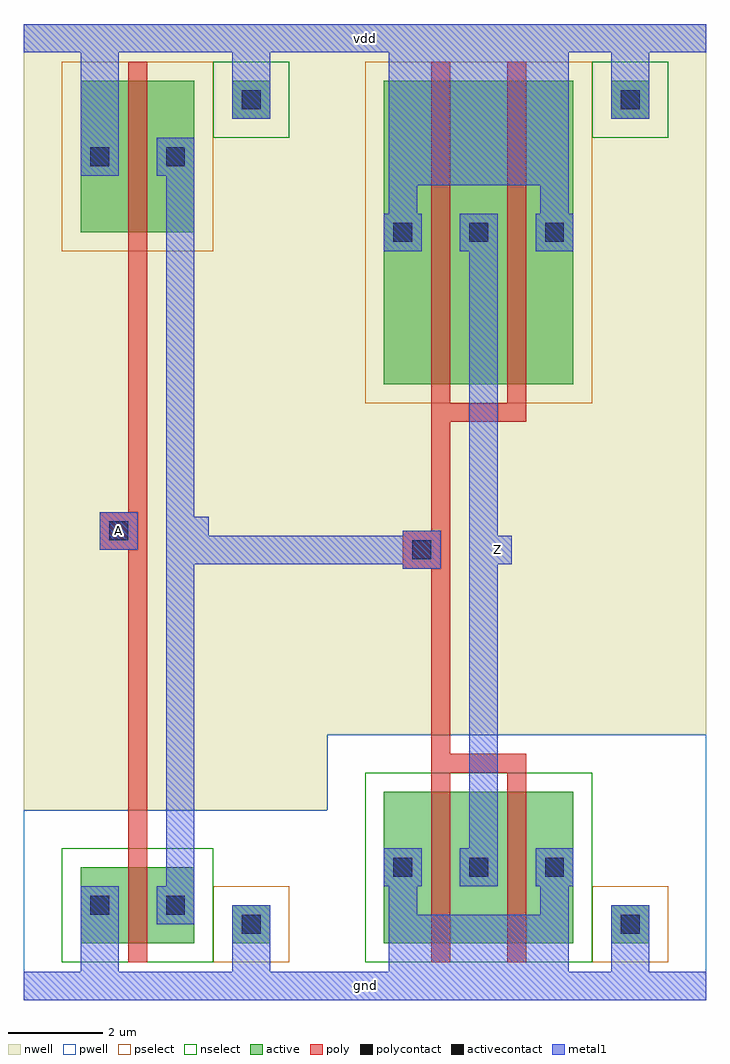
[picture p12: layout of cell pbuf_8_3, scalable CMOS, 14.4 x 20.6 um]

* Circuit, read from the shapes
.subckt pbuf_8_3 A Z gnd vdd
M1 pinv_17_1/A A gnd gnd nfet w=1.6u l=0.4u
M2 Z pinv_17_1/A gnd gnd nfet w=3.2u l=0.4u m=2
M3 pinv_17_1/A A vdd vdd pfet w=3.2u l=0.4u
M4 Z pinv_17_1/A vdd vdd pfet w=6.4u l=0.4u m=2
.ends

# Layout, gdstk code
import gdstk
lib = gdstk.Library(unit=1e-6, precision=1e-09)
def R(c, l, rs):  # rectangles x0, y0, x1, y1
    for r in rs: c.add(gdstk.rectangle(r[:2], r[2:], *l))
pwell = (41, 0)
nwell = (42, 0)
active = (43, 0)
pselect = (44, 0)
nselect = (45, 0)
poly = (46, 0)
polycontact = (47, 0)
activecontact = (48, 0)
metal1 = (49, 0)

active_contact_metal1_1x = lib.new_cell('active_contact_metal1_1x1_pn')
R(active_contact_metal1_1x, nwell, [(-1.2,-1.2,2,2)])
R(active_contact_metal1_1x, active, [(0,0,0.8,0.8)])
R(active_contact_metal1_1x, pselect, [(-0.4,-0.4,1.2,1.2)])
R(active_contact_metal1_1x, activecontact, [(0.2,0.2,0.6,0.6)])
R(active_contact_metal1_1x, metal1, [(0,0,0.8,0.8)])

pmos_m1_w3_2_a_p = lib.new_cell('pmos_m1_w3_2_a_p')
R(pmos_m1_w3_2_a_p, nwell, [(-1.2,-1.2,3.6,4.4)])
R(pmos_m1_w3_2_a_p, active, [(0,0,2.4,3.2)])
R(pmos_m1_w3_2_a_p, pselect, [(-0.4,-0.4,2.8,3.6)])
R(pmos_m1_w3_2_a_p, poly, [(1,-0.4,1.4,3.6), (1,-0.4,1.4,3.6)])
R(pmos_m1_w3_2_a_p, metal1, [(0,1.2,0.8,2), (1.6,1.2,2.4,2)])
pmos_m1_w3_2_a_p.add(gdstk.Reference(active_contact_metal1_1x, (0,1.2)))
pmos_m1_w3_2_a_p.add(gdstk.Reference(active_contact_metal1_1x, (1.6,1.2)))
pmos_m1_w3_2_a_p.add(gdstk.Label('G', (1.2,1.6), layer=46, texttype=0))
pmos_m1_w3_2_a_p.add(gdstk.Label('S', (0.4,1.6), layer=49, texttype=0))
pmos_m1_w3_2_a_p.add(gdstk.Label('D', (2,1.6), layer=49, texttype=0))

c_active_contact_metal1_1x = lib.new_cell('active_contact_metal1_1x1_np')
R(c_active_contact_metal1_1x, pwell, [(-1.2,-1.2,2,2)])
R(c_active_contact_metal1_1x, active, [(0,0,0.8,0.8)])
R(c_active_contact_metal1_1x, nselect, [(-0.4,-0.4,1.2,1.2)])
R(c_active_contact_metal1_1x, activecontact, [(0.2,0.2,0.6,0.6)])
R(c_active_contact_metal1_1x, metal1, [(0,0,0.8,0.8)])

nmos_m1_w1_6_a_p = lib.new_cell('nmos_m1_w1_6_a_p')
R(nmos_m1_w1_6_a_p, pwell, [(-1.2,-1.2,3.6,2.8)])
R(nmos_m1_w1_6_a_p, active, [(0,0,2.4,1.6)])
R(nmos_m1_w1_6_a_p, nselect, [(-0.4,-0.4,2.8,2)])
R(nmos_m1_w1_6_a_p, poly, [(1,-0.4,1.4,2), (1,-0.4,1.4,2)])
R(nmos_m1_w1_6_a_p, metal1, [(0,0.4,0.8,1.2), (1.6,0.4,2.4,1.2)])
nmos_m1_w1_6_a_p.add(gdstk.Reference(c_active_contact_metal1_1x, (0,0.4)))
nmos_m1_w1_6_a_p.add(gdstk.Reference(c_active_contact_metal1_1x, (1.6,0.4)))
nmos_m1_w1_6_a_p.add(gdstk.Label('G', (1.2,0.8), layer=46, texttype=0))
nmos_m1_w1_6_a_p.add(gdstk.Label('S', (0.4,0.8), layer=49, texttype=0))
nmos_m1_w1_6_a_p.add(gdstk.Label('D', (2,0.8), layer=49, texttype=0))

c_active_contact_metal1_1x_ = lib.new_cell('active_contact_metal1_1x1_nn')
R(c_active_contact_metal1_1x_, nwell, [(-1.2,-1.2,2,2)])
R(c_active_contact_metal1_1x_, active, [(0,0,0.8,0.8)])
R(c_active_contact_metal1_1x_, nselect, [(-0.4,-0.4,1.2,1.2)])
R(c_active_contact_metal1_1x_, activecontact, [(0.2,0.2,0.6,0.6)])
R(c_active_contact_metal1_1x_, metal1, [(0,0,0.8,0.8)])

c_active_contact_metal1_1x__ = lib.new_cell('active_contact_metal1_1x1_pp')
R(c_active_contact_metal1_1x__, pwell, [(-1.2,-1.2,2,2)])
R(c_active_contact_metal1_1x__, active, [(0,0,0.8,0.8)])
R(c_active_contact_metal1_1x__, pselect, [(-0.4,-0.4,1.2,1.2)])
R(c_active_contact_metal1_1x__, activecontact, [(0.2,0.2,0.6,0.6)])
R(c_active_contact_metal1_1x__, metal1, [(0,0,0.8,0.8)])

poly_contact_metal1_1x1 = lib.new_cell('poly_contact_metal1_1x1')
R(poly_contact_metal1_1x1, poly, [(0,0,0.8,0.8)])
R(poly_contact_metal1_1x1, polycontact, [(0.2,0.2,0.6,0.6)])
R(poly_contact_metal1_1x1, metal1, [(0,0,0.8,0.8)])

pinv_16 = lib.new_cell('pinv_16')
R(pinv_16, pwell, [(0,-0.3,6.4,3.7)])
R(pinv_16, nwell, [(0,3.7,6.4,20.3)])
R(pinv_16, poly, [(2.2,0.5,2.6,15.5), (2,9.2,2.2,10)])
R(pinv_16, metal1, [(0,-0.3,6.4,0.3), (1.2,-0.3,2,1.3), (4.4,0,5.2,1.3), (3,1.3,3.6,17.1), (1.6,9.2,2.4,10), (3.3,9.3,3.9,9.9), (1.2,17.1,2,20.3), (4.4,18.7,5.2,20), (0,19.7,6.4,20.3)])
pinv_16.add(gdstk.Reference(pmos_m1_w3_2_a_p, (1.2,15.9)))
pinv_16.add(gdstk.Reference(nmos_m1_w1_6_a_p, (1.2,0.9)))
pinv_16.add(gdstk.Reference(c_active_contact_metal1_1x_, (4.4,18.3)))
pinv_16.add(gdstk.Reference(c_active_contact_metal1_1x__, (4.4,0.9)))
pinv_16.add(gdstk.Reference(poly_contact_metal1_1x1, (1.6,9.2)))
pinv_16.add(gdstk.Label('gnd', (3.2,0), layer=49, texttype=0))
pinv_16.add(gdstk.Label('vdd', (3.2,20), layer=49, texttype=0))
pinv_16.add(gdstk.Label('A', (2,9.6), layer=49, texttype=0))
pinv_16.add(gdstk.Label('Z', (3.6,9.6), layer=49, texttype=0))

pmos_m2_w6_4_a_p = lib.new_cell('pmos_m2_w6_4_a_p')
R(pmos_m2_w6_4_a_p, nwell, [(-1.2,-1.2,5.2,7.6)])
R(pmos_m2_w6_4_a_p, active, [(0,0,4,6.4)])
R(pmos_m2_w6_4_a_p, pselect, [(-0.4,-0.4,4.4,6.8)])
R(pmos_m2_w6_4_a_p, poly, [(1,-0.8,3,-0.4), (1,-0.4,1.4,6.8), (2.6,-0.4,3,6.8)])
R(pmos_m2_w6_4_a_p, metal1, [(1.6,2.8,2.4,3.6), (0.1,3.2,0.7,4.5), (3.3,3.2,3.9,4.5), (0.1,4.2,3.9,4.8)])
pmos_m2_w6_4_a_p.add(gdstk.Reference(active_contact_metal1_1x, (0,2.8)))
pmos_m2_w6_4_a_p.add(gdstk.Reference(active_contact_metal1_1x, (3.2,2.8)))
pmos_m2_w6_4_a_p.add(gdstk.Reference(active_contact_metal1_1x, (1.6,2.8)))
pmos_m2_w6_4_a_p.add(gdstk.Label('G', (2,-0.6), layer=46, texttype=0))
pmos_m2_w6_4_a_p.add(gdstk.Label('S', (2,4.5), layer=49, texttype=0))
pmos_m2_w6_4_a_p.add(gdstk.Label('D', (2,3.2), layer=49, texttype=0))

nmos_m2_w3_2_a_p = lib.new_cell('nmos_m2_w3_2_a_p')
R(nmos_m2_w3_2_a_p, pwell, [(-1.2,-1.2,5.2,4.4)])
R(nmos_m2_w3_2_a_p, active, [(0,0,4,3.2)])
R(nmos_m2_w3_2_a_p, nselect, [(-0.4,-0.4,4.4,3.6)])
R(nmos_m2_w3_2_a_p, poly, [(1,-0.4,1.4,3.6), (2.6,-0.4,3,3.6), (1,3.6,3,4)])
R(nmos_m2_w3_2_a_p, metal1, [(0.1,0,3.9,0.6), (0.1,0.3,0.7,1.6), (3.3,0.3,3.9,1.6), (1.6,1.2,2.4,2)])
nmos_m2_w3_2_a_p.add(gdstk.Reference(c_active_contact_metal1_1x, (0,1.2)))
nmos_m2_w3_2_a_p.add(gdstk.Reference(c_active_contact_metal1_1x, (3.2,1.2)))
nmos_m2_w3_2_a_p.add(gdstk.Reference(c_active_contact_metal1_1x, (1.6,1.2)))
nmos_m2_w3_2_a_p.add(gdstk.Label('G', (2,3.8), layer=46, texttype=0))
nmos_m2_w3_2_a_p.add(gdstk.Label('S', (2,0.3), layer=49, texttype=0))
nmos_m2_w3_2_a_p.add(gdstk.Label('D', (2,1.6), layer=49, texttype=0))

pinv_17 = lib.new_cell('pinv_17')
R(pinv_17, pwell, [(0,-0.3,8,5.3)])
R(pinv_17, nwell, [(0,5.3,8,20.3)])
R(pinv_17, poly, [(2.2,4.5,2.6,11.9), (2,8.8,2.2,9.6)])
R(pinv_17, metal1, [(0,-0.3,8,0.3), (1.3,-0.3,5.1,0.9), (6,0,6.8,1.3), (3,2.1,3.6,15.5), (1.6,8.8,2.4,9.6), (3.3,8.9,3.9,9.5), (1.3,16.9,5.1,20.3), (6,18.7,6.8,20), (0,19.7,8,20.3)])
pinv_17.add(gdstk.Reference(pmos_m2_w6_4_a_p, (1.2,12.7)))
pinv_17.add(gdstk.Reference(nmos_m2_w3_2_a_p, (1.2,0.9)))
pinv_17.add(gdstk.Reference(c_active_contact_metal1_1x_, (6,18.3)))
pinv_17.add(gdstk.Reference(c_active_contact_metal1_1x__, (6,0.9)))
pinv_17.add(gdstk.Reference(poly_contact_metal1_1x1, (1.6,8.8)))
pinv_17.add(gdstk.Label('gnd', (4,0), layer=49, texttype=0))
pinv_17.add(gdstk.Label('vdd', (4,20), layer=49, texttype=0))
pinv_17.add(gdstk.Label('A', (2,9.2), layer=49, texttype=0))
pinv_17.add(gdstk.Label('Z', (3.6,9.2), layer=49, texttype=0))

pbuf_8_3 = lib.new_cell('pbuf_8_3')
R(pbuf_8_3, metal1, [(0,-0.3,14.4,0.3), (3.3,8.9,3.9,9.5), (3.6,8.9,8.4,9.5), (9.7,8.9,10.3,9.5), (1.6,9.2,2.4,10), (3.3,9.2,3.9,9.6), (0,19.7,14.4,20.3)])
pbuf_8_3.add(gdstk.Reference(pinv_16, (0,0)))
pbuf_8_3.add(gdstk.Reference(pinv_17, (6.4,0)))
pbuf_8_3.add(gdstk.Label('vdd', (7.2,20), layer=49, texttype=0))
pbuf_8_3.add(gdstk.Label('gnd', (7.2,0), layer=49, texttype=0))
pbuf_8_3.add(gdstk.Label('Z', (10,9.2), layer=49, texttype=0))
pbuf_8_3.add(gdstk.Label('A', (2,9.6), layer=49, texttype=0))

lib.write_gds('pbuf_8_3.gds')
